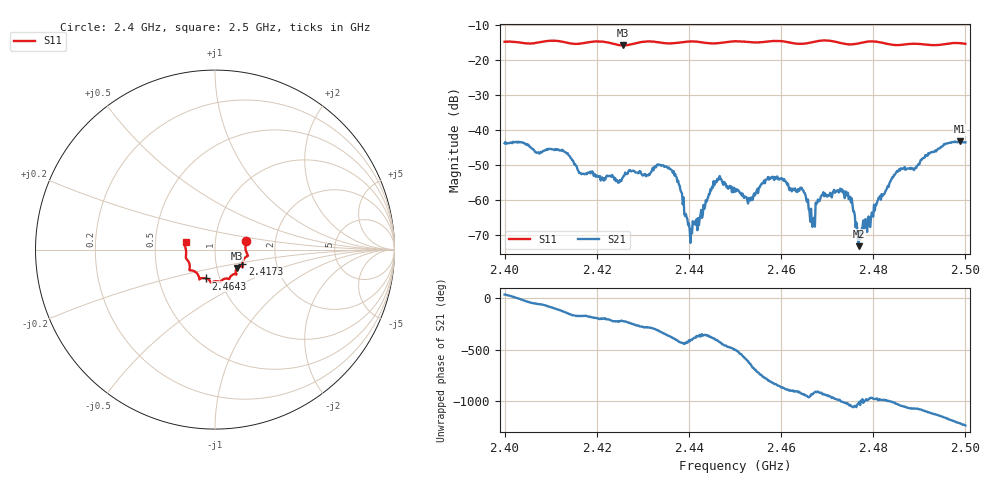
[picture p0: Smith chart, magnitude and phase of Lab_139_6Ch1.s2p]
# Hz S RI R 50
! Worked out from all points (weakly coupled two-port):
!   601 points, 2.4 GHz to 2.5 GHz, reference 50 ohm
!   highest |S21| = -43.36 dB at 2.4988 GHz (marker M1); lowest = -73.3 dB at 2.4768 GHz (marker M2)
!   lowest |S11| = -15.9 dB at 2.4257 GHz (marker M3), VSWR 1.38, Z = 62.4 - j13.1 ohm
!   |S11| at or under -10 dB: start of sweep to end of sweep
!   S12 and S22 are empty: the file has one direction only
!   S11 on the Smith chart (normalised r, x): 2.4 GHz: 1.41, +0.14; 2.4173 GHz: 1.34, -0.23; 2.4643 GHz: 0.86, -0.28; 2.5 GHz: 0.72, +0.06
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2.4e9  0.1735 0.0494  0.00541 0.0034  0 0  0 0
2.412667e9  0.1759 -0.0389  -0.00332 -0.00377  0 0  0 0
2.416667e9  0.1529 -0.075  -0.0023 -0.000234  0 0  0 0
2.417333e9  0.1523 -0.0824  -0.00229 -0.000222  0 0  0 0
2.425667e9  0.1226 -0.1025  -0.0015 0.00145  0 0  0 0
2.433333e9  0.1127 -0.1366  0.00215 0.00225  0 0  0 0
2.437167e9  0.0866 -0.1499  0.00158 -0.00147  0 0  0 0
2.440333e9  0.0793 -0.1638  0.00017 -0.000172  0 0  0 0
2.446167e9  0.0461 -0.1656  0.00116 -0.00161  0 0  0 0
2.45e9  0.0296 -0.1808  -0.00101 -0.000827  0 0  0 0
2.453333e9  0.0151 -0.1768  0.000212 0.000943  0 0  0 0
2.458667e9  -0.0205 -0.1841  -0.00081 -0.00194  0 0  0 0
2.464333e9  -0.0503 -0.1605  -0.00135 0.00062  0 0  0 0
2.466667e9  -0.0763 -0.1596  -0.000419 0.000246  0 0  0 0
2.469e9  -0.0874 -0.1662  -0.000986 0.000656  0 0  0 0
2.473e9  -0.0909 -0.1465  0.000267 0.00132  0 0  0 0
2.475e9  -0.1066 -0.1263  0.00077 0.000788  0 0  0 0
2.476833e9  -0.1251 -0.117  9.55e-05 0.000194  0 0  0 0
2.483333e9  -0.1406 -0.0895  0.000149 0.00151  0 0  0 0
2.485667e9  -0.1479 -0.0656  0.002 0.00189  0 0  0 0
2.498833e9  -0.1687 0.035  -0.00462 -0.00498  0 0  0 0
2.5e9  -0.1631 0.0415  -0.0059 -0.00292  0 0  0 0
